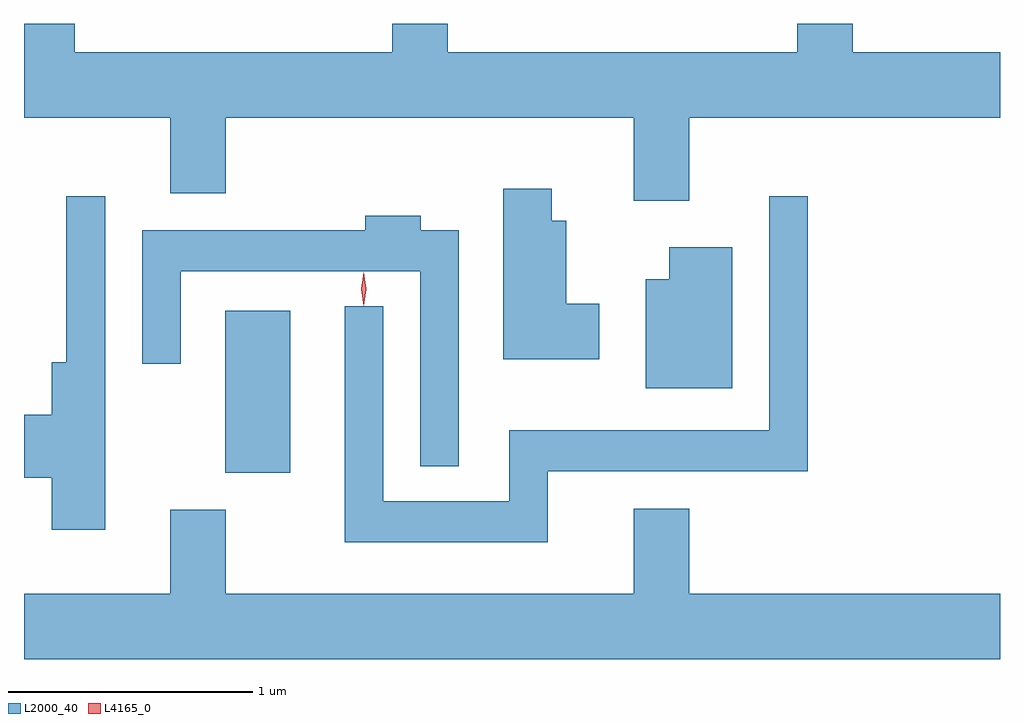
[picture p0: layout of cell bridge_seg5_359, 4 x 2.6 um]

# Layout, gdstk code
import gdstk
lib = gdstk.Library(unit=1e-6, precision=1e-09)
def R(c, l, rs):  # rectangles x0, y0, x1, y1
    for r in rs: c.add(gdstk.rectangle(r[:2], r[2:], *l))
def P(c, l, *ps):  # polygons
    for p in ps: c.add(gdstk.Polygon(p, *l))
L2000_40 = (2000, 40)
L4165_0 = (4165, 0)

bridge_seg5_359 = lib.new_cell('bridge_seg5_359')
R(bridge_seg5_359, L2000_40, [(398.786,1493.081,399.054,1493.744)])
P(bridge_seg5_359, L2000_40, [(400.689,1494.536),(401.962,1494.536),(401.962,1494.804),(401.359,1494.804),(401.359,1494.921),(401.131,1494.921),(401.131,1494.804),(399.699,1494.804),(399.699,1494.921),(399.471,1494.921),(399.471,1494.804),(398.169,1494.804),(398.169,1494.921),(397.962,1494.921),(397.962,1494.536),(398.561,1494.536),(398.561,1494.226),(398.789,1494.226),(398.789,1494.536),(400.461,1494.536),(400.461,1494.196),(400.689,1494.196)],
  [(400.319,1493.774),(400.184,1493.774),(400.184,1494.114),(400.124,1494.114),(400.124,1494.244),(399.926,1494.244),(399.926,1493.546),(400.319,1493.546)],
  [(398.294,1494.213),(398.136,1494.213),(398.136,1493.534),(398.076,1493.534),(398.076,1493.319),(397.962,1493.319),(397.962,1493.061),(398.076,1493.061),(398.076,1492.846),(398.294,1492.846)],
  [(400.109,1493.086),(401.174,1493.086),(401.174,1494.213),(401.016,1494.213),(401.016,1493.254),(399.951,1493.254),(399.951,1492.964),(399.434,1492.964),(399.434,1493.763),(399.276,1493.763),(399.276,1492.796),(400.109,1492.796)],
  [(399.744,1494.074),(399.589,1494.074),(399.589,1494.134),(399.361,1494.134),(399.361,1494.074),(398.446,1494.074),(398.446,1493.528),(398.604,1493.528),(398.604,1493.906),(399.586,1493.906),(399.586,1493.108),(399.744,1493.108)],
  [(400.864,1494.004),(400.606,1494.004),(400.606,1493.874),(400.511,1493.874),(400.511,1493.426),(400.864,1493.426)],
  [(401.962,1492.584),(400.689,1492.584),(400.689,1492.934),(400.461,1492.934),(400.461,1492.584),(398.789,1492.584),(398.789,1492.929),(398.561,1492.929),(398.561,1492.584),(397.962,1492.584),(397.962,1492.316),(401.962,1492.316)])
P(bridge_seg5_359, L4165_0, [(399.354,1493.767),(399.345,1493.834),(399.354,1493.9),(399.355,1493.9),(399.355,1493.9),(399.365,1493.834),(399.355,1493.767),(399.355,1493.767)],
  [(399.354,1493.764),(399.354,1493.764),(399.344,1493.833),(399.354,1493.902),(399.354,1493.903),(399.355,1493.902),(399.364,1493.833),(399.355,1493.764)])

lib.write_gds('bridge_seg5_359.gds')
